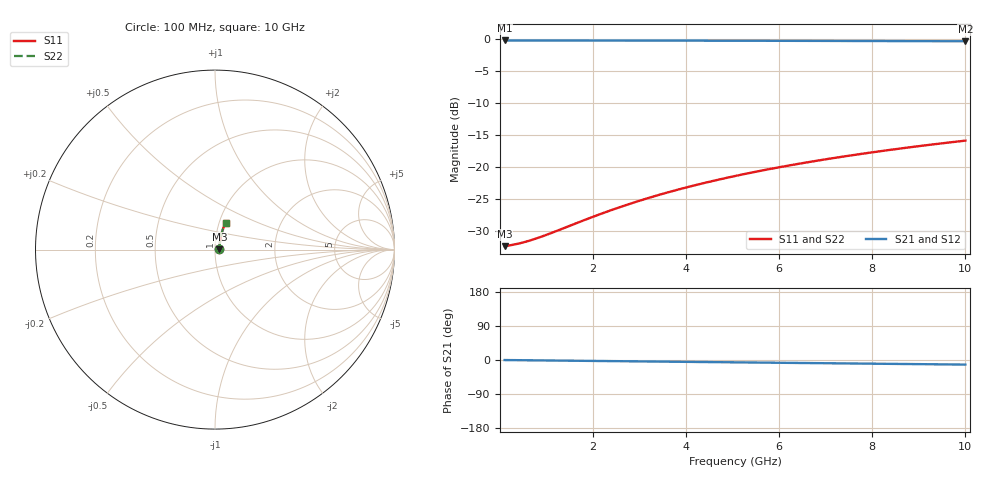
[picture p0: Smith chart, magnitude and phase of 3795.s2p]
# Hz S RI R 50.00
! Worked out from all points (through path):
!   100 points, 100 MHz to 10 GHz, reference 50 ohm
!   highest |S21| = -0.21 dB at 100 MHz (marker M1); lowest = -0.3 dB at 10 GHz (marker M2)
!   group delay of S21, straight-line fit = 3.37 ps
!   lowest |S11| = -32.4 dB at 100 MHz (marker M3), VSWR 1.05, Z = 52.5 + j0.164 ohm
!   |S11| at or under -10 dB: start of sweep to end of sweep
!   |S22| runs from -32.4 to -15.9 dB; largest |S21 - S12| = 0
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1e8  0.0241 0.00157  0.9759 -0.00208  0.9759 -0.00208  0.0241 0.00157
3e8  0.0244 0.0047  0.9756 -0.00624  0.9756 -0.00624  0.0244 0.0047
4e8  0.0245 0.00626  0.9755 -0.00832  0.9755 -0.00832  0.0245 0.00626
5e8  0.0246 0.00782  0.9754 -0.0104  0.9754 -0.0104  0.0246 0.00782
7e8  0.0248 0.0109  0.9752 -0.0146  0.9752 -0.0146  0.0248 0.0109
9e8  0.025 0.0141  0.975 -0.0187  0.975 -0.0187  0.025 0.0141
1.1e9  0.0252 0.0172  0.9748 -0.0229  0.9748 -0.0229  0.0252 0.0172
1.8e9  0.0261 0.0281  0.9738 -0.0374  0.9738 -0.0374  0.0261 0.0281
2.2e9  0.0268 0.0343  0.9731 -0.0457  0.9731 -0.0457  0.0268 0.0343
2.6e9  0.0275 0.0405  0.9724 -0.0539  0.9724 -0.0539  0.0275 0.0405
3e9  0.0283 0.0467  0.9715 -0.0622  0.9715 -0.0622  0.0283 0.0467
3.4e9  0.0293 0.0528  0.9706 -0.0704  0.9706 -0.0704  0.0293 0.0528
3.8e9  0.0303 0.059  0.9695 -0.0786  0.9695 -0.0786  0.0303 0.059
4.2e9  0.0314 0.0651  0.9683 -0.0868  0.9683 -0.0868  0.0314 0.0651
4.6e9  0.0326 0.0712  0.967 -0.095  0.967 -0.095  0.0326 0.0712
5.1e9  0.0343 0.0788  0.9653 -0.1051  0.9653 -0.1051  0.0343 0.0788
5.9e9  0.0373 0.0908  0.9622 -0.1213  0.9622 -0.1213  0.0373 0.0908
6.7e9  0.0407 0.1027  0.9587 -0.1373  0.9587 -0.1373  0.0407 0.1027
7.5e9  0.0445 0.1144  0.9548 -0.1532  0.9548 -0.1532  0.0445 0.1144
8.4e9  0.0491 0.1274  0.9499 -0.1709  0.9499 -0.1709  0.0491 0.1274
9.2e9  0.0537 0.1388  0.9451 -0.1864  0.9451 -0.1864  0.0537 0.1388
1e10  0.0586 0.15  0.94 -0.2017  0.94 -0.2017  0.0586 0.15
